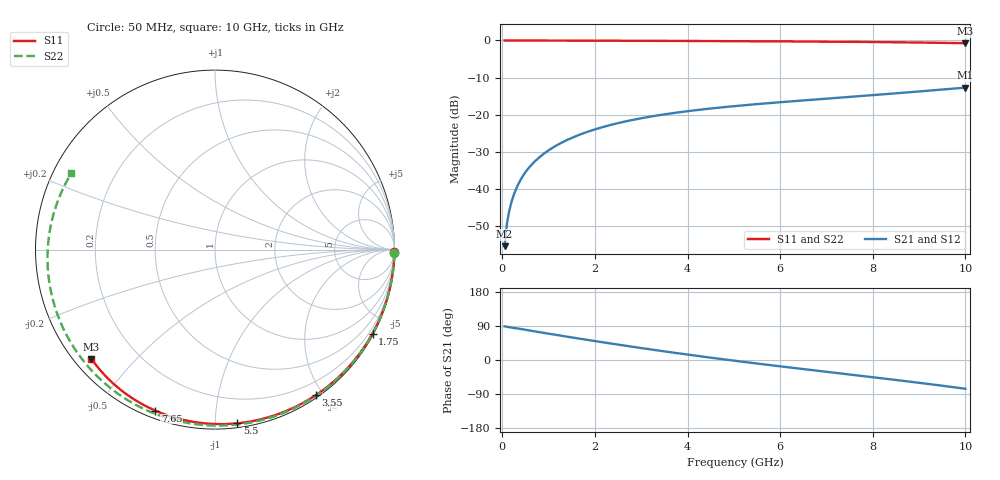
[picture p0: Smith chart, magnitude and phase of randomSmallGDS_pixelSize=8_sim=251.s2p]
! freq	dB(S11)	phase(S11)	dB(S12)	phase(S12)
!  dB(S21)	phase(S21)	dB(S22)	phase(S22)
!S-par simulation data
#  GHz  S  DB  R 50
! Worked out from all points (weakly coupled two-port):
!   200 points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, 50 MHz to 10 GHz, reference 50 ohm
!   highest |S21| = -12.70 dB at 10 GHz (marker M1); lowest = -55.4 dB at 50 MHz (marker M2)
!   lowest |S11| = -0.7 dB at 10 GHz (marker M3), VSWR 23.68, Z = 2.41 - j18.9 ohm
!   |S11| at or under -10 dB: nowhere
!   |S22| runs from -0.9 to 0.0 dB; largest |S21 - S12| = 0
!   S11 on the Smith chart (normalised r, x): 50 MHz: open; 1.75 GHz: 0.05, -4.00; 3.55 GHz: 0.03, -1.90; 5.5 GHz: 0.03, -1.14; 7.65 GHz: 0.03, -0.70; 10 GHz: 0.05, -0.38
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0.05  -0.00 -0.8  -55.38 88.9  -55.38 88.9  -0.00 -1.2
0.1  -0.00 -1.6  -49.36 87.7  -49.36 87.7  -0.00 -2.5
0.15  -0.00 -2.5  -45.85 86.6  -45.85 86.6  -0.00 -3.7
0.2  -0.00 -3.3  -43.38 85.3  -43.38 85.3  -0.01 -4.9
0.35  -0.01 -5.7  -38.58 82.9  -38.58 82.9  -0.01 -8.6
0.5  -0.01 -8.1  -35.47 79.7  -35.47 79.7  -0.02 -12.2
0.7  -0.02 -11.3  -32.59 75.5  -32.59 75.5  -0.02 -17.1
1  -0.02 -16.2  -29.58 69.4  -29.58 69.4  -0.04 -24.4
1.35  -0.04 -21.7  -27.09 62.5  -27.09 62.5  -0.05 -32.7
1.75  -0.05 -28.1  -24.99 54.7  -24.99 54.7  -0.07 -42.1
2.6  -0.08 -41.2  -21.96 38.8  -21.96 38.8  -0.10 -61.4
3.4  -0.11 -53.2  -20.09 24.5  -20.09 24.5  -0.14 -78.7
3.55  -0.12 -55.4  -19.81 21.9  -19.81 21.9  -0.15 -81.9
4.3  -0.15 -66.2  -18.60 9.4  -18.60 9.4  -0.19 -97.3
5.05  -0.19 -76.6  -17.64 -2.5  -17.64 -2.5  -0.24 -112.0
5.5  -0.21 -82.7  -17.14 -9.3  -17.14 -9.3  -0.27 -120.6
6.1  -0.25 -90.7  -16.53 -18.2  -16.53 -18.2  -0.32 -131.9
6.7  -0.30 -98.4  -15.96 -26.8  -15.96 -26.8  -0.37 -143.0
7.65  -0.38 -110.3  -15.06 -40.4  -15.06 -40.4  -0.47 -160.8
8.35  -0.46 -118.8  -14.38 -50.5  -14.38 -50.5  -0.57 -174.1
9.2  -0.59 -129.0  -13.52 -63.2  -13.52 -63.2  -0.70 168.9
10  -0.73 -138.5  -12.70 -75.9  -12.70 -75.9  -0.85 151.9
